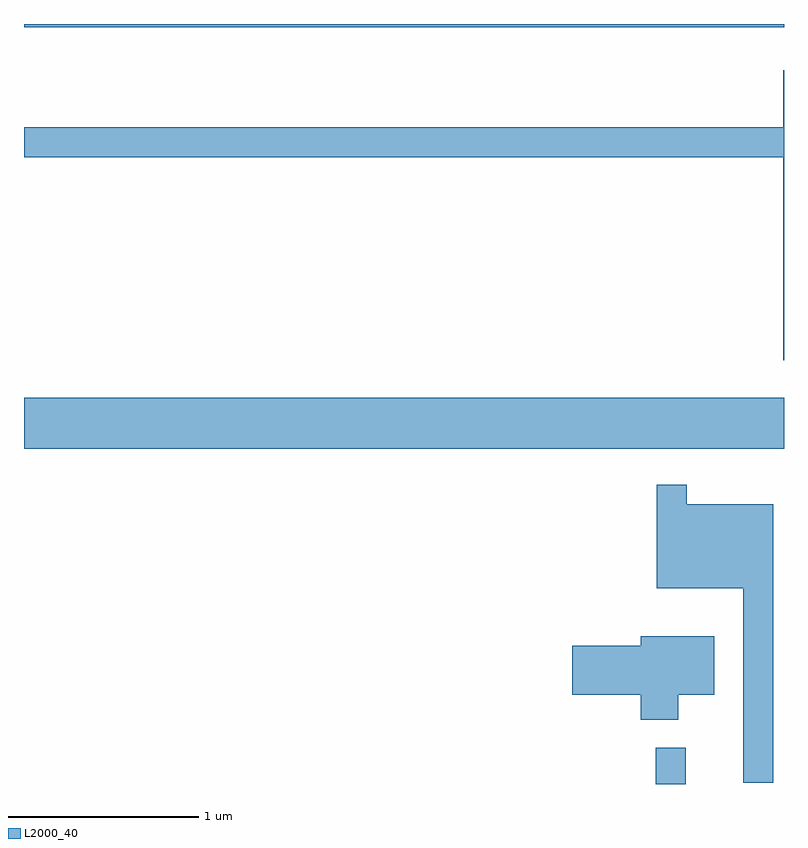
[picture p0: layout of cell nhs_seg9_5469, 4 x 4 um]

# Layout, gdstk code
import gdstk
lib = gdstk.Library(unit=1e-6, precision=1e-09)
def R(c, l, rs):  # rectangles x0, y0, x1, y1
    for r in rs: c.add(gdstk.rectangle(r[:2], r[2:], *l))
def P(c, l, *ps):  # polygons
    for p in ps: c.add(gdstk.Polygon(p, *l))
L2000_40 = (2000, 40)

nhs_seg9_5469 = lib.new_cell('nhs_seg9_5469')
R(nhs_seg9_5469, L2000_40, [(348.936,2054.432,349.094,2054.623), (345.611,2056.196,349.611,2056.464), (345.611,2058.416,349.611,2058.432)])
P(nhs_seg9_5469, L2000_40, [(349.611,2058.189),(349.606,2058.189),(349.606,2057.889),(345.611,2057.889),(345.611,2057.731),(349.606,2057.731),(349.606,2056.661),(349.611,2056.661)],
  [(349.554,2055.904),(349.099,2055.904),(349.099,2056.008),(348.941,2056.008),(348.941,2055.461),(349.396,2055.461),(349.396,2054.438),(349.554,2054.438)],
  [(349.054,2054.901),(349.244,2054.901),(349.244,2055.209),(348.856,2055.209),(348.856,2055.159),(348.496,2055.159),(348.496,2054.901),(348.856,2054.901),(348.856,2054.771),(349.054,2054.771)])

lib.write_gds('nhs_seg9_5469.gds')
